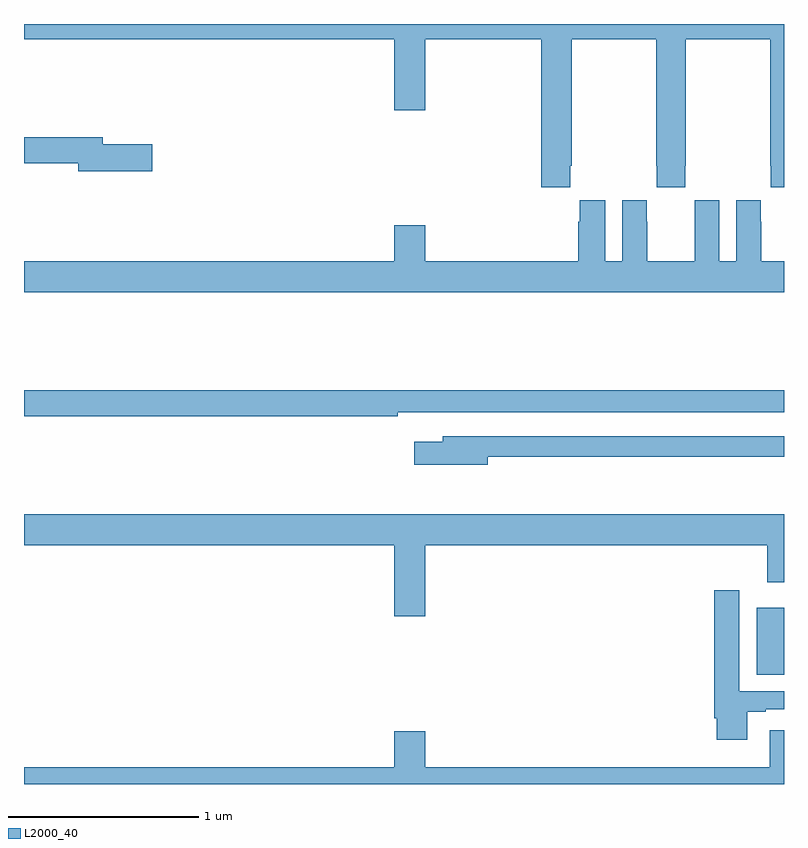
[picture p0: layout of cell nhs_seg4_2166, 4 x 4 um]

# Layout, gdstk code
import gdstk
lib = gdstk.Library(unit=1e-6, precision=1e-09)
def R(c, l, rs):  # rectangles x0, y0, x1, y1
    for r in rs: c.add(gdstk.rectangle(r[:2], r[2:], *l))
def P(c, l, *ps):  # polygons
    for p in ps: c.add(gdstk.Polygon(p, *l))
L2000_40 = (2000, 40)

nhs_seg4_2166 = lib.new_cell('nhs_seg4_2166')
R(nhs_seg4_2166, L2000_40, [(226.856,793.474,227,793.828)])
P(nhs_seg4_2166, L2000_40, [(225.875,796.153),(225.882,796.153),(225.882,796.82),(226.327,796.82),(226.327,796.153),(226.329,796.153),(226.329,796.041),(226.479,796.041),(226.479,796.153),(226.482,796.153),(226.482,796.82),(226.927,796.82),(226.927,796.153),(226.929,796.153),(226.929,796.041),(227,796.041),(227,796.9),(223,796.9),(223,796.82),(224.948,796.82),(224.948,796.446),(225.112,796.446),(225.112,796.82),(225.722,796.82),(225.722,796.041),(225.875,796.041)],
  [(223.675,796.268),(223.414,796.268),(223.414,796.304),(223,796.304),(223,796.168),(223.286,796.168),(223.286,796.126),(223.675,796.126)],
  [(227,795.652),(226.879,795.652),(226.879,795.86),(226.878,795.86),(226.878,795.973),(226.748,795.973),(226.748,795.652),(226.66,795.652),(226.66,795.973),(226.53,795.973),(226.53,795.86),(226.529,795.86),(226.529,795.652),(226.279,795.652),(226.279,795.86),(226.278,795.86),(226.278,795.973),(226.148,795.973),(226.148,795.652),(226.06,795.652),(226.06,795.973),(225.926,795.973),(225.926,795.86),(225.917,795.86),(225.917,795.652),(225.112,795.652),(225.112,795.841),(224.948,795.841),(224.948,795.652),(223,795.652),(223,795.488),(227,795.488)],
  [(224.966,794.856),(227,794.856),(227,794.972),(223,794.972),(223,794.836),(224.966,794.836)],
  [(225.442,794.622),(227,794.622),(227,794.73),(225.203,794.73),(225.203,794.701),(225.054,794.701),(225.054,794.579),(225.442,794.579)],
  [(225.112,794.156),(226.913,794.156),(226.913,793.962),(227,793.962),(227,794.32),(223,794.32),(223,794.156),(224.948,794.156),(224.948,793.782),(225.112,793.782)],
  [(226.807,793.281),(226.903,793.281),(226.903,793.293),(227,793.293),(227,793.389),(226.765,793.389),(226.765,793.921),(226.634,793.921),(226.634,793.246),(226.646,793.246),(226.646,793.134),(226.807,793.134)],
  [(227,793.183),(226.925,793.183),(226.925,792.988),(225.112,792.988),(225.112,793.177),(224.948,793.177),(224.948,792.988),(223,792.988),(223,792.9),(227,792.9)])

lib.write_gds('nhs_seg4_2166.gds')
